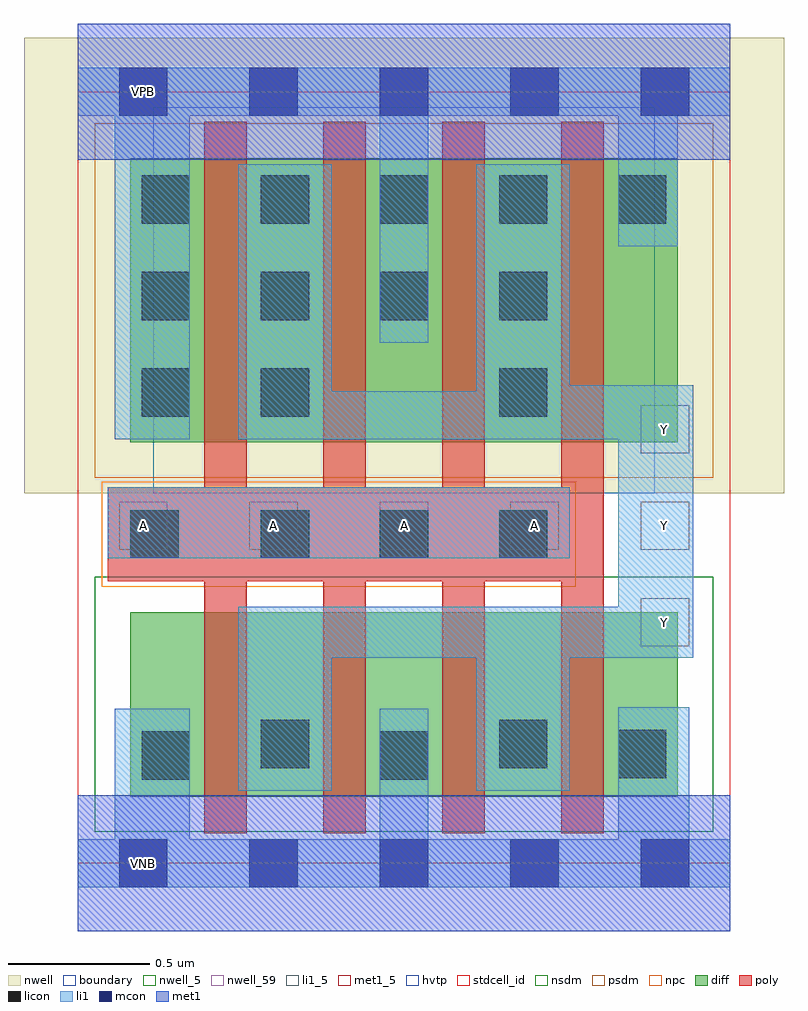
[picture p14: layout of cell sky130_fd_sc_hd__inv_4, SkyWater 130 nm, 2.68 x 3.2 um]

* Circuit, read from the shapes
.subckt sky130_fd_sc_hd__inv_4 A VGND VNB VPB VPWR Y
XM1 Y A VGND VNB sky130_fd_pr__nfet_01v8 w=0.65 l=0.15 m=4
XM2 Y A VPWR VPB sky130_fd_pr__pfet_01v8_hvt w=1 l=0.15 m=4
.ends

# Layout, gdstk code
import gdstk
lib = gdstk.Library(unit=1e-6, precision=1e-09)
def R(c, l, rs):  # rectangles x0, y0, x1, y1
    for r in rs: c.add(gdstk.rectangle(r[:2], r[2:], *l))
def A(c, l, x, y, w, h, nx, ny, dx, dy):  # array of equal rectangles
    R(c, l, [(x+i*dx, y+j*dy, x+i*dx+w, y+j*dy+h) for i in range(nx) for j in range(ny)])
nwell_5 = (64, 5)
nwell = (64, 20)
nwell_59 = (64, 59)
diff = (65, 20)
poly = (66, 20)
licon = (66, 44)
li1_5 = (67, 5)
li1 = (67, 20)
mcon = (67, 44)
met1_5 = (68, 5)
met1 = (68, 20)
hvtp = (78, 44)
stdcell_id = (81, 4)
nsdm = (93, 44)
psdm = (94, 20)
npc = (95, 20)
boundary = (235, 4)

sky130_fd_sc_hd__inv_4 = lib.new_cell('sky130_fd_sc_hd__inv_4')
R(sky130_fd_sc_hd__inv_4, nwell_5, [(0.145,2.635,0.315,2.805)])
R(sky130_fd_sc_hd__inv_4, nwell, [(-0.19,1.305,2.49,2.91)])
R(sky130_fd_sc_hd__inv_4, nwell_59, [(0.145,-0.085,0.315,0.085)])
R(sky130_fd_sc_hd__inv_4, diff, [(0.185,0.235,2.115,0.885), (0.185,1.485,2.115,2.485)])
A(sky130_fd_sc_hd__inv_4, poly, 0.445, 0.105, 0.15, 0.89, 4, 1, 0.42, 0)
A(sky130_fd_sc_hd__inv_4, poly, 0.445, 1.325, 0.15, 1.29, 4, 1, 0.42, 0)
R(sky130_fd_sc_hd__inv_4, poly, [(0.105,0.995,1.855,1.325)])
A(sky130_fd_sc_hd__inv_4, licon, 0.645, 1.075, 0.17, 0.17, 3, 1, 0.42, 0)
A(sky130_fd_sc_hd__inv_4, licon, 0.225, 1.915, 0.17, 0.17, 4, 1, 0.42, 0)
A(sky130_fd_sc_hd__inv_4, licon, 0.225, 2.255, 0.17, 0.17, 5, 1, 0.42, 0)
R(sky130_fd_sc_hd__inv_4, licon, [(0.225,0.295,0.395,0.465), (1.065,0.295,1.235,0.465), (1.905,0.3,2.075,0.47), (0.645,0.335,0.815,0.505), (1.485,0.335,1.655,0.505), (0.185,1.075,0.355,1.245), (0.225,1.575,0.395,1.745), (0.645,1.575,0.815,1.745), (1.485,1.575,1.655,1.745)])
A(sky130_fd_sc_hd__inv_4, li1_5, 0.145, 1.105, 0.17, 0.17, 5, 1, 0.46, 0)
R(sky130_fd_sc_hd__inv_4, li1_5, [(1.985,0.765,2.155,0.935), (1.985,1.445,2.155,1.615)])
R(sky130_fd_sc_hd__inv_4, li1, [(0,-0.085,2.3,0.085), (0.13,0.085,0.395,0.545), (1.065,0.085,1.235,0.545), (1.905,0.085,2.155,0.55), (0.565,0.255,0.895,0.725), (1.405,0.255,1.735,0.725), (0.565,0.725,2.17,0.905), (1.905,0.905,2.17,1.495), (0.105,1.075,1.735,1.325), (0.13,1.495,0.395,2.635), (0.565,1.495,2.17,1.665), (0.565,1.665,0.895,2.465), (1.405,1.665,2.17,1.685), (1.405,1.685,1.735,2.465), (1.065,1.835,1.235,2.635), (1.905,2.175,2.115,2.635), (0,2.635,2.3,2.805)])
A(sky130_fd_sc_hd__inv_4, mcon, 0.145, -0.085, 0.17, 0.17, 5, 2, 0.46, 2.72)
R(sky130_fd_sc_hd__inv_4, met1_5, [(0.145,-0.085,0.315,0.085), (0.145,2.635,0.315,2.805)])
R(sky130_fd_sc_hd__inv_4, met1, [(0,-0.24,2.3,0.24), (0,2.48,2.3,2.96)])
R(sky130_fd_sc_hd__inv_4, hvtp, [(0.265,1.305,2.035,2.665)])
R(sky130_fd_sc_hd__inv_4, stdcell_id, [(0,0,2.3,2.72)])
R(sky130_fd_sc_hd__inv_4, nsdm, [(0.06,0.11,2.24,1.01)])
R(sky130_fd_sc_hd__inv_4, psdm, [(0.06,1.36,2.24,2.61)])
R(sky130_fd_sc_hd__inv_4, npc, [(0.085,0.975,1.755,1.345)])
R(sky130_fd_sc_hd__inv_4, boundary, [(0,0,2.3,2.72)])
sky130_fd_sc_hd__inv_4.add(gdstk.Label('Y', (2.07,0.85), layer=67, texttype=5))
sky130_fd_sc_hd__inv_4.add(gdstk.Label('Y', (2.07,1.19), layer=67, texttype=5))
sky130_fd_sc_hd__inv_4.add(gdstk.Label('Y', (2.07,1.53), layer=67, texttype=5))
sky130_fd_sc_hd__inv_4.add(gdstk.Label('A', (0.23,1.19), layer=67, texttype=5))
sky130_fd_sc_hd__inv_4.add(gdstk.Label('A', (0.69,1.19), layer=67, texttype=5))
sky130_fd_sc_hd__inv_4.add(gdstk.Label('A', (1.15,1.19), layer=67, texttype=5))
sky130_fd_sc_hd__inv_4.add(gdstk.Label('A', (1.61,1.19), layer=67, texttype=5))
sky130_fd_sc_hd__inv_4.add(gdstk.Label('VPB', (0.23,2.72), layer=64, texttype=5))
sky130_fd_sc_hd__inv_4.add(gdstk.Label('VNB', (0.23,0), layer=64, texttype=59))
sky130_fd_sc_hd__inv_4.add(gdstk.Label('VPWR', (0.23,2.72), layer=68, texttype=5))
sky130_fd_sc_hd__inv_4.add(gdstk.Label('VGND', (0.23,0), layer=68, texttype=5))

lib.write_gds('sky130_fd_sc_hd__inv_4.gds')
